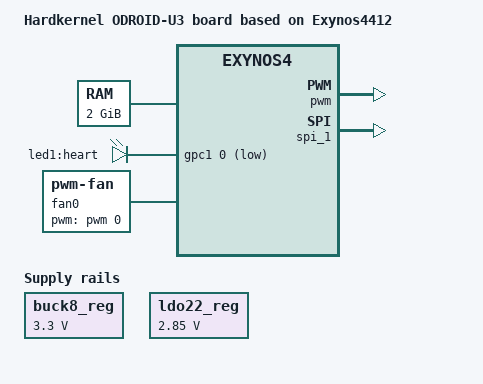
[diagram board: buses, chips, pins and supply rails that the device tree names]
// SPDX-License-Identifier: GPL-2.0
/*
 * Hardkernel's Exynos4412 based ODROID-U3 board device tree source
 *
 * Copyright (c) 2014 Marek Szyprowski <m.szyprowski@samsung.com>
 *
 * Device tree source file for Hardkernel's ODROID-U3 board which is based
 * on Samsung's Exynos4412 SoC.
 */

/dts-v1/;
#include "exynos4412-odroid-common.dtsi"
#include "exynos4412-prime.dtsi"

/ {
	model = "Hardkernel ODROID-U3 board based on Exynos4412";
	compatible = "hardkernel,odroid-u3", "samsung,exynos4412-prime", "samsung,exynos4412", "samsung,exynos4";

	memory@40000000 {
		device_type = "memory";
		reg = <0x40000000 0x7FF00000>;
	};

	leds {
		compatible = "gpio-leds";
		led1 {
			label = "led1:heart";
			gpios = <&gpc1 0 GPIO_ACTIVE_LOW>;
			default-state = "on";
			linux,default-trigger = "heartbeat";
		};
	};

	fan0: pwm-fan {
		compatible = "pwm-fan";
		pwms = <&pwm 0 10000 0>;
		cooling-min-state = <0>;
		cooling-max-state = <3>;
		#cooling-cells = <2>;
		cooling-levels = <0 102 170 230>;
	};

	thermal-zones {
		cpu_thermal: cpu-thermal {
			cooling-maps {
				map0 {
				     trip = <&cpu_alert1>;
				     cooling-device = <&cpu0 10 10>;
				};
				map1 {
				     trip = <&cpu_alert2>;
				     cooling-device = <&cpu0 16 16>;
				};
				map2 {
				     trip = <&cpu_alert0>;
				     cooling-device = <&fan0 0 1>;
				};
				map3 {
				     trip = <&cpu_alert1>;
				     cooling-device = <&fan0 1 2>;
				};
				map4 {
				     trip = <&cpu_alert2>;
				     cooling-device = <&fan0 2 3>;
				};
			};
		};
	};
};

&buck2_reg {
	regulator-max-microvolt = <1400000>;
};

/* On the Odroid-U2/U3 this buck regulator supplies the LAN9730 block. */
&buck8_reg {
	regulator-name = "input_lan9730_3.3V";
	regulator-min-microvolt = <3300000>;
	regulator-max-microvolt = <3300000>;
};

&hdmicec {
	needs-hpd;
};

/* On the Odroid-U2/U3 this buck regulator supplies the core of the eMMC. */
&ldo22_reg {
	regulator-name = "vddf_emmc_2.85V";
	regulator-min-microvolt = <2850000>;
	regulator-max-microvolt = <2850000>;
};

&max77686 {
	pinctrl-0 = <&max77686_irq &max77686_enb8>;
};

&mshc_0 {
	vqmmc-supply = <&ldo22_reg>;
};

&pinctrl_0 {
	max77686_enb8: max77686-enb8 {
		samsung,pins = "gpa1-1";
		samsung,pin-function = <EXYNOS_PIN_FUNC_OUTPUT>;
		samsung,pin-pud = <EXYNOS_PIN_PULL_DOWN>;
		samsung,pin-drv = <EXYNOS4_PIN_DRV_LV1>;
	};
};

&pwm {
	pinctrl-0 = <&pwm0_out>;
	pinctrl-names = "default";
	samsung,pwm-outputs = <0>;
	status = "okay";
};

&usb3503 {
	clock-names = "refclk";
	clocks = <&pmu_system_controller 0>;
	refclk-frequency = <24000000>;
	disabled-ports = <2>;
};

&ehci {
	port@1 {
		/* HSIC for LAN9730 */
		status = "okay";
		/* buck8 enable pin, use it for power sequence */
		reset-gpios = <&gpa1 1 GPIO_ACTIVE_LOW>;
		/*
		 * Reset duration of 500 us was chosen experimentally.
		 * Minimal working value was 400 us. Add some safe margin.
		 */
		reset-duration-us = <500>;
	};
	port@2 {
		status = "okay";
	};
};

&sound {
	simple-audio-card,name = "Odroid-U3";
	simple-audio-card,widgets =
		"Headphone", "Headphone Jack",
		"Speakers", "Speakers";
	simple-audio-card,routing =
		"Headphone Jack", "HPL",
		"Headphone Jack", "HPR",
		"Headphone Jack", "MICBIAS",
		"IN1", "Headphone Jack",
		"Speakers", "SPKL",
		"Speakers", "SPKR";
};

&spi_1 {
	pinctrl-names = "default";
	pinctrl-0 = <&spi1_bus>;
	cs-gpios = <&gpb 5 GPIO_ACTIVE_HIGH>;
	status = "okay";
};
